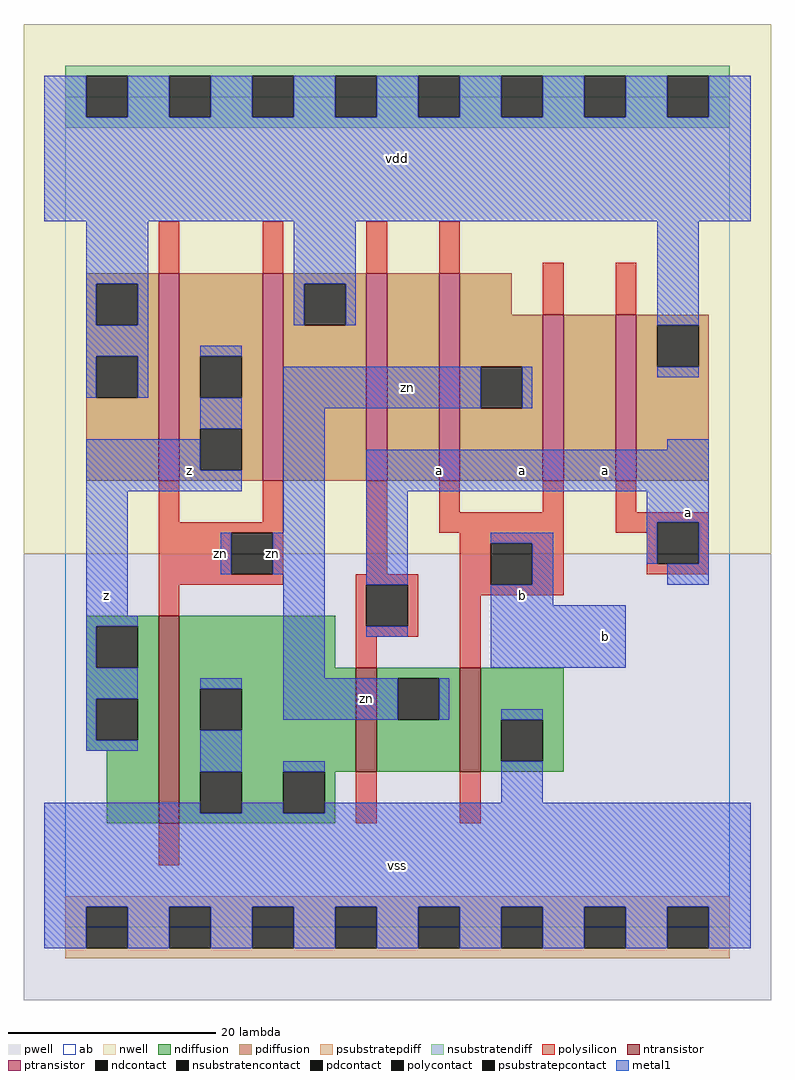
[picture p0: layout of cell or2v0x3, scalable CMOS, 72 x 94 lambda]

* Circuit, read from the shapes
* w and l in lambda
.subckt or2v0x3 a b vdd vss z zn
M1 vss zn z vss nfet w=20 l=2
M2 zn a vss vss nfet w=10 l=2
M3 vss b zn vss nfet w=10 l=2
M4 z zn vdd vdd pfet w=20 l=2 m=2
M5 n1 a vdd vdd pfet w=20 l=2
M6 zn b n1 vdd pfet w=20 l=2
M7 n2 b zn vdd pfet w=16 l=2
M8 vdd a n2 vdd pfet w=16 l=2
.ends

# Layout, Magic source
magic
tech scmos
<< ab >>
rect 0 0 64 80
<< pwell >>
rect -4 -7 68 36
<< nwell >>
rect -4 36 68 87
<< polysilicon >>
rect 9 63 11 68
rect 19 63 21 68
rect 29 63 31 68
rect 36 63 38 68
rect 46 59 48 64
rect 53 59 55 64
rect 9 39 11 43
rect 19 39 21 43
rect 9 38 21 39
rect 9 34 16 38
rect 20 34 21 38
rect 29 34 31 43
rect 36 40 38 43
rect 46 40 48 43
rect 36 38 48 40
rect 53 40 55 43
rect 53 39 62 40
rect 53 38 57 39
rect 38 37 48 38
rect 9 33 21 34
rect 28 33 34 34
rect 9 30 11 33
rect 28 29 29 33
rect 33 29 34 33
rect 28 28 34 29
rect 38 33 41 37
rect 45 33 48 37
rect 56 35 57 38
rect 61 35 62 39
rect 56 34 62 35
rect 38 32 48 33
rect 28 25 30 28
rect 38 25 40 32
rect 28 10 30 15
rect 38 10 40 15
rect 9 6 11 10
<< ndiffusion >>
rect 2 29 9 30
rect 2 25 3 29
rect 7 25 9 29
rect 2 22 9 25
rect 2 18 3 22
rect 7 18 9 22
rect 2 17 9 18
rect 4 10 9 17
rect 11 25 26 30
rect 11 23 28 25
rect 11 19 13 23
rect 17 19 28 23
rect 11 15 28 19
rect 30 24 38 25
rect 30 20 32 24
rect 36 20 38 24
rect 30 15 38 20
rect 40 20 48 25
rect 40 16 42 20
rect 46 16 48 20
rect 40 15 48 16
rect 11 11 13 15
rect 17 11 21 15
rect 25 11 26 15
rect 11 10 26 11
<< pdiffusion >>
rect 2 62 9 63
rect 2 58 3 62
rect 7 58 9 62
rect 2 55 9 58
rect 2 51 3 55
rect 7 51 9 55
rect 2 43 9 51
rect 11 55 19 63
rect 11 51 13 55
rect 17 51 19 55
rect 11 48 19 51
rect 11 44 13 48
rect 17 44 19 48
rect 11 43 19 44
rect 21 62 29 63
rect 21 58 23 62
rect 27 58 29 62
rect 21 43 29 58
rect 31 43 36 63
rect 38 59 43 63
rect 38 54 46 59
rect 38 50 40 54
rect 44 50 46 54
rect 38 43 46 50
rect 48 43 53 59
rect 55 58 62 59
rect 55 54 57 58
rect 61 54 62 58
rect 55 43 62 54
<< metal1 >>
rect -2 78 2 82
rect 6 78 10 82
rect 14 78 18 82
rect 22 78 26 82
rect 30 78 34 82
rect 38 78 42 82
rect 46 78 50 82
rect 54 78 58 82
rect 62 78 66 82
rect -2 68 66 78
rect 2 62 8 68
rect 2 58 3 62
rect 7 58 8 62
rect 22 62 28 68
rect 22 58 23 62
rect 27 58 28 62
rect 57 58 61 68
rect 2 55 8 58
rect 2 51 3 55
rect 7 51 8 55
rect 13 55 17 56
rect 13 48 17 51
rect 2 44 13 47
rect 2 42 17 44
rect 21 50 40 54
rect 44 50 45 54
rect 57 53 61 54
rect 2 30 6 42
rect 21 38 25 50
rect 58 46 62 47
rect 15 34 16 38
rect 20 34 25 38
rect 2 29 7 30
rect 2 25 3 29
rect 2 22 7 25
rect 21 24 25 34
rect 29 42 62 46
rect 29 33 33 42
rect 56 39 62 42
rect 29 28 33 29
rect 41 37 47 38
rect 45 33 47 37
rect 56 35 57 39
rect 61 35 62 39
rect 58 33 62 35
rect 41 31 47 33
rect 41 25 54 31
rect 2 18 3 22
rect 2 17 7 18
rect 13 23 17 24
rect 21 20 32 24
rect 36 20 37 24
rect 42 20 46 21
rect 13 15 17 19
rect -2 11 13 12
rect 21 15 25 16
rect 17 11 21 12
rect 42 12 46 16
rect 25 11 66 12
rect -2 2 66 11
rect -2 -2 2 2
rect 6 -2 10 2
rect 14 -2 18 2
rect 22 -2 26 2
rect 30 -2 34 2
rect 38 -2 42 2
rect 46 -2 50 2
rect 54 -2 58 2
rect 62 -2 66 2
<< ntransistor >>
rect 9 10 11 30
rect 28 15 30 25
rect 38 15 40 25
<< ptransistor >>
rect 9 43 11 63
rect 19 43 21 63
rect 29 43 31 63
rect 36 43 38 63
rect 46 43 48 59
rect 53 43 55 59
<< polycontact >>
rect 16 34 20 38
rect 29 29 33 33
rect 41 33 45 37
rect 57 35 61 39
<< ndcontact >>
rect 3 25 7 29
rect 3 18 7 22
rect 13 19 17 23
rect 32 20 36 24
rect 42 16 46 20
rect 13 11 17 15
rect 21 11 25 15
<< pdcontact >>
rect 3 58 7 62
rect 3 51 7 55
rect 13 51 17 55
rect 13 44 17 48
rect 23 58 27 62
rect 40 50 44 54
rect 57 54 61 58
<< psubstratepcontact >>
rect 2 -2 6 2
rect 10 -2 14 2
rect 18 -2 22 2
rect 26 -2 30 2
rect 34 -2 38 2
rect 42 -2 46 2
rect 50 -2 54 2
rect 58 -2 62 2
<< nsubstratencontact >>
rect 2 78 6 82
rect 10 78 14 82
rect 18 78 22 82
rect 26 78 30 82
rect 34 78 38 82
rect 42 78 46 82
rect 50 78 54 82
rect 58 78 62 82
<< psubstratepdiff >>
rect 0 2 64 3
rect 0 -2 2 2
rect 6 -2 10 2
rect 14 -2 18 2
rect 22 -2 26 2
rect 30 -2 34 2
rect 38 -2 42 2
rect 46 -2 50 2
rect 54 -2 58 2
rect 62 -2 64 2
rect 0 -3 64 -2
<< nsubstratendiff >>
rect 0 82 64 83
rect 0 78 2 82
rect 6 78 10 82
rect 14 78 18 82
rect 22 78 26 82
rect 30 78 34 82
rect 38 78 42 82
rect 46 78 50 82
rect 54 78 58 82
rect 62 78 64 82
rect 0 77 64 78
<< labels >>
rlabel polysilicon 15 36 15 36 6 zn
rlabel metal1 4 32 4 32 6 z
rlabel metal1 12 44 12 44 6 z
rlabel metal1 32 6 32 6 6 vss
rlabel metal1 29 22 29 22 6 zn
rlabel metal1 20 36 20 36 6 zn
rlabel metal1 36 44 36 44 6 a
rlabel metal1 32 74 32 74 6 vdd
rlabel metal1 44 32 44 32 6 b
rlabel metal1 44 44 44 44 6 a
rlabel metal1 33 52 33 52 6 zn
rlabel metal1 52 28 52 28 6 b
rlabel metal1 52 44 52 44 6 a
rlabel metal1 60 40 60 40 6 a
<< end >>
